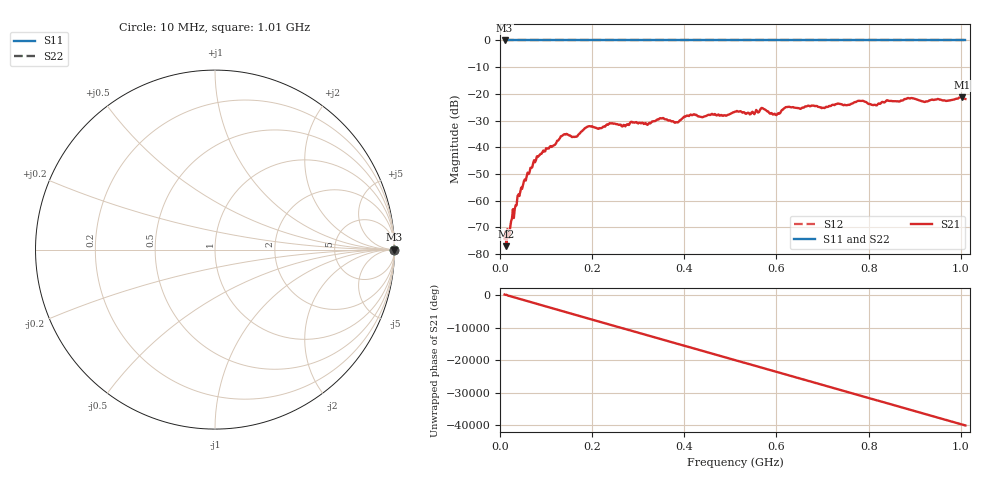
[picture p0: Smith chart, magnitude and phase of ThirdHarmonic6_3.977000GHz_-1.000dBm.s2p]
! 8/17/2025 2:09:29 PM
! C:\ANRITSUVNA\TEMP\TEMP.S2P
! CHANNEL.1
! TR.MEASUREMENT
! RAW.DATA
! RF.CORRECTION.OFF
! AVERAGING.OFF
! IF.BANDWIDTH: 5KHZ
! SWEEPTYPE:  FREQ.SWEEP(Linear)
! Reference Plane Port Info
! PORT:  PORT1  PORT2
! DISTANCE:  0  m  0  m
! TIME:  0  s  0  s
! PHASE.OFFSET:  0  deg.  0  deg.
! LOSS:  0  dB  0  dB
! REF.LOSS:  0  dB  0  dB
! REF.FREQ:  0  Hz  0  Hz
! Power Info
! POWER:  -20  dBm  -20  dBm
! EFF.POWER:  -20  dBm  -20  dBm
! SOURCE.ATTEN:  0  dB  0  dB
! TEST.ATTEN:  0  dB  0  dB
# GHZ S RI R 50.0
! FREQ.GHZ  S11RE  S11IM  S21RE  S21IM  S12RE  S12IM  S22RE  S22IM
!; PortSelection: Port_12
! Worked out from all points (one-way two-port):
!   501 points, 10 MHz to 1.01 GHz, reference 50 ohm
!   highest |S21| = -21.25 dB at 1.002 GHz (marker M1); lowest = -77.0 dB at 14 MHz (marker M2)
!   lowest |S11| = 0.0 dB at 10 MHz (marker M3)
!   |S11| at or under -10 dB: nowhere
!   |S22| runs from 0.0 to 0.0 dB; largest |S21 - S12| = 1.1
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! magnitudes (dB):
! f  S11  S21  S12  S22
! 10 MHz  0.0  -74.1  0.0  0.0
! 14 MHz  0.0  -77.0  0.0  0.0
! 18 MHz  0.0  -73.2  0.0  0.0
! 42 MHz  0.0  -58.2  0.0  0.0
! 76 MHz  0.0  -45.6  0.0  0.0
! 136 MHz  0.0  -35.6  0.0  0.0
! 164 MHz  0.0  -36.0  0.0  0.0
! 178 MHz  0.0  -34.0  0.0  0.0
! 192 MHz  0.0  -32.2  0.0  0.0
! 322 MHz  0.0  -31.2  0.0  0.0
! 344 MHz  0.0  -29.6  0.0  0.0
! 382 MHz  0.0  -30.6  0.0  0.0
! 416 MHz  0.0  -28.0  0.0  0.0
! 510 MHz  0.0  -26.7  0.0  0.0
! 570 MHz  0.0  -25.4  0.0  0.0
! 598 MHz  0.0  -27.8  0.0  0.0
! 622 MHz  0.0  -25.0  0.0  0.0
! 678 MHz  0.0  -24.4  0.0  0.0
! 814 MHz  0.0  -24.1  0.0  0.0
! 844 MHz  0.0  -22.6  0.0  0.0
! 1.002 GHz  0.0  -21.3  0.0  0.0
! 1.01 GHz  0.0  -21.9  0.0  0.0
